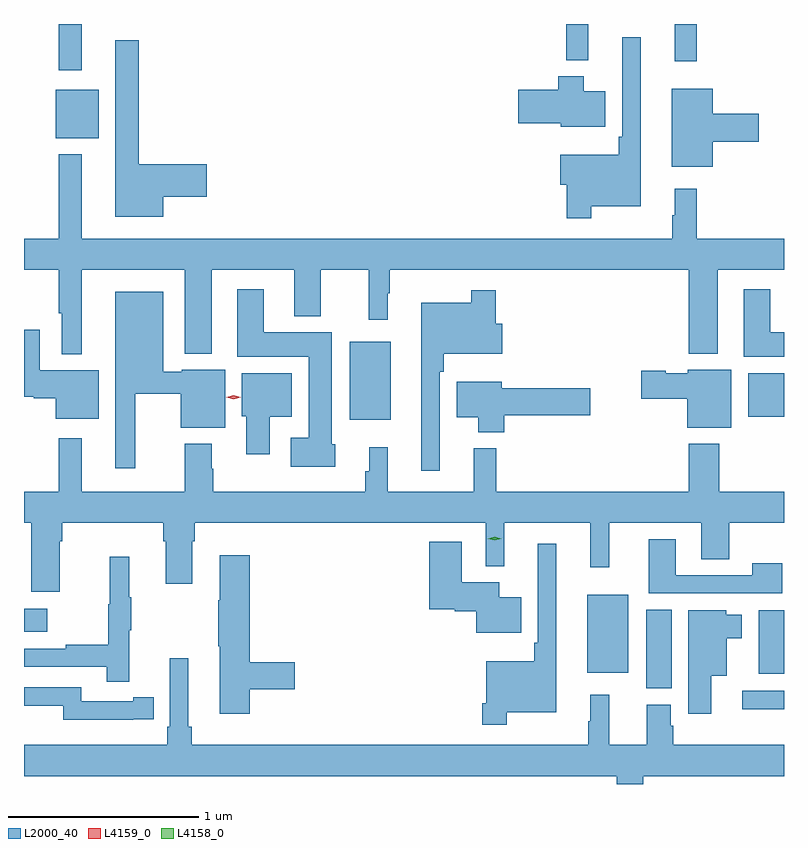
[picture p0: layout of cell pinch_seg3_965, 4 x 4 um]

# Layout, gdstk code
import gdstk
lib = gdstk.Library(unit=1e-6, precision=1e-09)
def R(c, l, rs):  # rectangles x0, y0, x1, y1
    for r in rs: c.add(gdstk.rectangle(r[:2], r[2:], *l))
def P(c, l, *ps):  # polygons
    for p in ps: c.add(gdstk.Polygon(p, *l))
L2000_40 = (2000, 40)
L4158_0 = (4158, 0)
L4159_0 = (4159, 0)

pinch_seg3_965 = lib.new_cell('pinch_seg3_965')
R(pinch_seg3_965, L2000_40, [(495.093,730.571,495.314,730.668), (494.588,730.681,494.722,731.096), (495.182,730.757,495.314,731.092), (494.279,730.763,494.494,731.173), (491.314,730.979,491.437,731.101), (493.028,732.095,493.243,732.505), (495.125,732.11,495.314,732.34), (491.48,733.577,491.707,733.831), (491.496,733.935,491.617,734.178), (494.738,733.983,494.855,734.178), (494.167,733.988,494.285,734.178)])
P(pinch_seg3_965, L2000_40, [(494.299,733.22),(494.56,733.22),(494.56,734.107),(494.463,734.107),(494.463,733.585),(494.443,733.585),(494.443,733.489),(494.136,733.489),(494.136,733.331),(494.17,733.331),(494.17,733.155),(494.299,733.155)],
  [(492.046,733.268),(492.277,733.268),(492.277,733.439),(491.917,733.439),(491.917,734.092),(491.795,734.092),(491.795,733.163),(492.046,733.163)],
  [(494.374,733.825),(494.26,733.825),(494.26,733.903),(494.126,733.903),(494.126,733.833),(493.914,733.833),(493.914,733.655),(494.138,733.655),(494.138,733.637),(494.374,733.637)],
  [(494.938,733.559),(495.181,733.559),(495.181,733.706),(494.938,733.706),(494.938,733.837),(494.723,733.837),(494.723,733.427),(494.938,733.427)],
  [(491.617,732.884),(492.161,732.884),(492.161,732.443),(492.301,732.443),(492.301,732.884),(492.737,732.884),(492.737,732.641),(492.877,732.641),(492.877,732.884),(493.129,732.884),(493.129,732.621),(493.228,732.621),(493.228,732.761),(493.24,732.761),(493.24,732.884),(494.813,732.884),(494.813,732.443),(494.965,732.443),(494.965,732.884),(495.314,732.884),(495.314,733.048),(494.855,733.048),(494.855,733.312),(494.738,733.312),(494.738,733.172),(494.727,733.172),(494.727,733.048),(491.617,733.048),(491.617,733.492),(491.496,733.492),(491.496,733.048),(491.314,733.048),(491.314,732.884),(491.496,732.884),(491.496,732.655),(491.513,732.655),(491.513,732.44),(491.617,732.44)],
  [(492.952,731.967),(492.934,731.967),(492.934,732.556),(492.577,732.556),(492.577,732.781),(492.437,732.781),(492.437,732.428),(492.812,732.428),(492.812,732.001),(492.717,732.001),(492.717,731.849),(492.952,731.849)],
  [(495.314,732.556),(495.241,732.556),(495.241,732.781),(495.101,732.781),(495.101,732.428),(495.314,732.428)],
  [(493.503,732.347),(493.523,732.347),(493.523,732.443),(493.831,732.443),(493.831,732.601),(493.796,732.601),(493.796,732.778),(493.668,732.778),(493.668,732.712),(493.406,732.712),(493.406,731.826),(493.503,731.826)],
  [(491.899,732.232),(492.14,732.232),(492.14,732.053),(492.373,732.053),(492.373,732.358),(492.144,732.358),(492.144,732.348),(492.046,732.348),(492.046,732.769),(491.795,732.769),(491.795,731.841),(491.899,731.841)],
  [(491.707,732.355),(491.398,732.355),(491.398,732.568),(491.314,732.568),(491.314,732.215),(491.364,732.215),(491.364,732.208),(491.48,732.208),(491.48,732.101),(491.707,732.101)],
  [(495.037,732.358),(494.808,732.358),(494.808,732.34),(494.691,732.34),(494.691,732.353),(494.562,732.353),(494.562,732.206),(494.804,732.206),(494.804,732.053),(495.037,732.053)],
  [(492.607,732.11),(492.724,732.11),(492.724,732.34),(492.461,732.34),(492.461,732.114),(492.485,732.114),(492.485,731.913),(492.607,731.913)],
  [(493.841,732.118),(494.293,732.118),(494.293,732.26),(493.828,732.26),(493.828,732.295),(493.592,732.295),(493.592,732.107),(493.706,732.107),(493.706,732.029),(493.841,732.029)],
  [(493.799,731.944),(493.682,731.944),(493.682,731.716),(493.229,731.716),(493.229,731.95),(493.13,731.95),(493.13,731.825),(493.111,731.825),(493.111,731.716),(492.309,731.716),(492.309,731.837),(492.301,731.837),(492.301,731.968),(492.161,731.968),(492.161,731.716),(491.617,731.716),(491.617,731.998),(491.496,731.998),(491.496,731.716),(491.314,731.716),(491.314,731.552),(491.351,731.552),(491.351,731.19),(491.503,731.19),(491.503,731.456),(491.516,731.456),(491.516,731.552),(492.047,731.552),(492.047,731.456),(492.059,731.456),(492.059,731.232),(492.199,731.232),(492.199,731.456),(492.212,731.456),(492.212,731.552),(493.743,731.552),(493.743,731.324),(493.841,731.324),(493.841,731.552),(494.294,731.552),(494.294,731.319),(494.393,731.319),(494.393,731.552),(494.879,731.552),(494.879,731.362),(495.027,731.362),(495.027,731.552),(495.314,731.552),(495.314,731.716),(494.973,731.716),(494.973,731.968),(494.813,731.968),(494.813,731.716),(493.799,731.716)],
  [(495.304,731.341),(495.148,731.341),(495.148,731.277),(494.743,731.277),(494.743,731.467),(494.603,731.467),(494.603,731.181),(495.304,731.181)],
  [(493.93,731.161),(493.816,731.161),(493.816,731.239),(493.618,731.239),(493.618,731.452),(493.448,731.452),(493.448,731.099),(493.581,731.099),(493.581,731.087),(493.694,731.087),(493.694,730.973),(493.93,730.973)],
  [(493.855,730.556),(494.116,730.556),(494.116,731.443),(494.019,731.443),(494.019,730.921),(493.999,730.921),(493.999,730.825),(493.746,730.825),(493.746,730.603),(493.726,730.603),(493.726,730.491),(493.855,730.491)],
  [(492.503,730.678),(492.739,730.678),(492.739,730.82),(492.503,730.82),(492.503,731.383),(492.344,731.383),(492.344,731.144),(492.337,731.144),(492.337,730.903),(492.344,730.903),(492.344,730.548),(492.503,730.548)],
  [(491.867,730.987),(491.878,730.987),(491.878,731.161),(491.867,731.161),(491.867,731.374),(491.764,731.374),(491.764,731.124),(491.757,731.124),(491.757,730.91),(491.533,730.91),(491.533,730.89),(491.314,730.89),(491.314,730.794),(491.749,730.794),(491.749,730.716),(491.867,730.716)],
  [(494.932,730.748),(495.013,730.748),(495.013,730.946),(495.091,730.946),(495.091,731.068),(495.009,731.068),(495.009,731.092),(494.81,731.092),(494.81,730.548),(494.932,730.548)],
  [(494.574,730.22),(495.314,730.22),(495.314,730.384),(494.732,730.384),(494.732,730.485),(494.719,730.485),(494.719,730.596),(494.591,730.596),(494.591,730.384),(494.393,730.384),(494.393,730.648),(494.294,730.648),(494.294,730.508),(494.283,730.508),(494.283,730.384),(492.197,730.384),(492.197,730.48),(492.178,730.48),(492.178,730.84),(492.081,730.84),(492.081,730.48),(492.068,730.48),(492.068,730.384),(491.314,730.384),(491.314,730.22),(494.435,730.22),(494.435,730.178),(494.574,730.178)],
  [(491.888,730.518),(491.996,730.518),(491.996,730.634),(491.888,730.634),(491.888,730.614),(491.616,730.614),(491.616,730.686),(491.314,730.686),(491.314,730.59),(491.52,730.59),(491.52,730.517),(491.888,730.517)])
P(pinch_seg3_965, L4158_0, [(493.791,731.46),(493.756,731.47),(493.756,731.47),(493.756,731.47),(493.791,731.48),(493.827,731.469),(493.827,731.469),(493.827,731.469)])
P(pinch_seg3_965, L4159_0, [(492.417,732.203),(492.379,732.213),(492.378,732.213),(492.379,732.213),(492.417,732.223),(492.456,732.213),(492.456,732.213),(492.456,732.213)])

lib.write_gds('pinch_seg3_965.gds')
